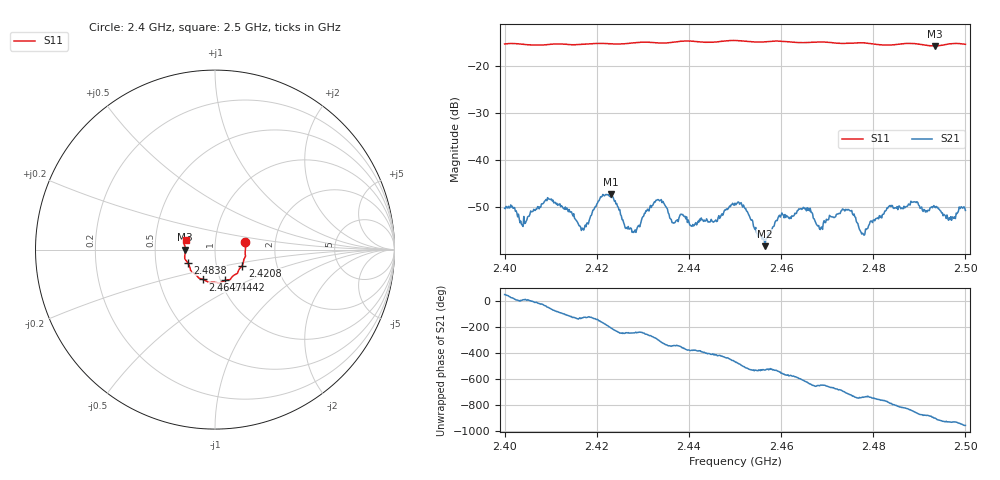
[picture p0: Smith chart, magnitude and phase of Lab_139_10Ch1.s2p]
# Hz S RI R 50
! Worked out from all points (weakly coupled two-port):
!   601 points, 2.4 GHz to 2.5 GHz, reference 50 ohm
!   highest |S21| = -47.21 dB at 2.423 GHz (marker M1); lowest = -58.2 dB at 2.4565 GHz (marker M2)
!   lowest |S11| = -15.6 dB at 2.4933 GHz (marker M3), VSWR 1.40, Z = 35.8 + j0.011 ohm
!   |S11| at or under -10 dB: start of sweep to end of sweep
!   S12 and S22 are empty: the file has one direction only
!   S11 on the Smith chart (normalised r, x): 2.4 GHz: 1.40, +0.12; 2.4208 GHz: 1.33, -0.24; 2.4442 GHz: 1.05, -0.37; 2.4647 GHz: 0.83, -0.29; 2.4838 GHz: 0.73, -0.11; 2.5 GHz: 0.71, +0.08
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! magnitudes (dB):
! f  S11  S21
! 2.4 GHz  -15.2  -50.2
! 2.4042 GHz  -15.3  -51.9
! 2.4098 GHz  -15.3  -48.2
! 2.4167 GHz  -15.3  -54.9
! 2.4208 GHz  -15.1  -47.7
! 2.423 GHz  -15.2  -47.2
! 2.4282 GHz  -15.0  -55.1
! 2.4333 GHz  -15.0  -48.3
! 2.4365 GHz  -14.8  -53.2
! 2.4442 GHz  -14.9  -53.1
! 2.45 GHz  -14.5  -49.1
! 2.4565 GHz  -14.8  -58.2
! 2.4598 GHz  -14.6  -52.0
! 2.4647 GHz  -14.9  -50.2
! 2.4667 GHz  -14.8  -51.1
! 2.4685 GHz  -14.8  -54.7
! 2.4748 GHz  -15.1  -50.6
! 2.4777 GHz  -15.0  -55.5
! 2.4833 GHz  -15.5  -49.8
! 2.4838 GHz  -15.4  -49.8
! 2.4933 GHz  -15.6  -49.9
! 2.5 GHz  -15.3  -50.6
